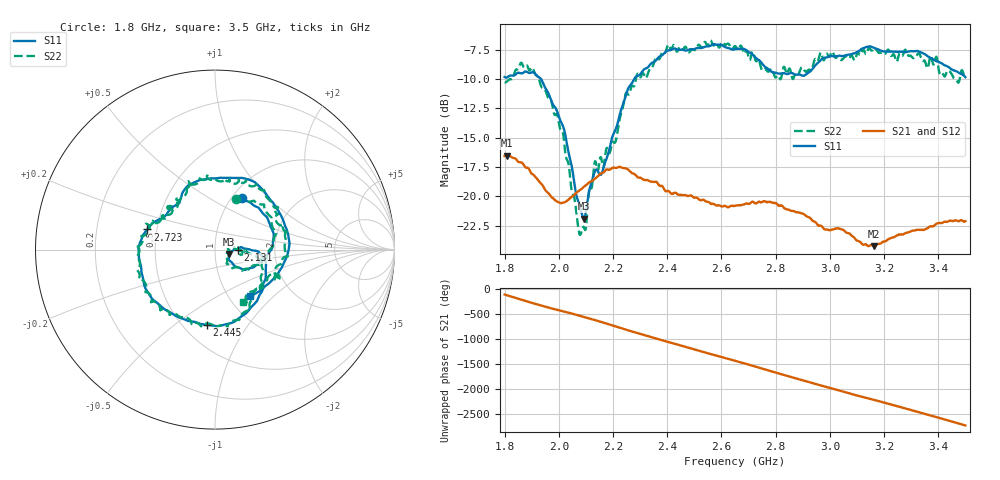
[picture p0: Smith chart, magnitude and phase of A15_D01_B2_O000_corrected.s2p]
! Created with skrf 1.9.0 (http://scikit-rf.org).
# Hz S RI R 50.0
!freq ReS11 ImS11 ReS21 ImS21 ReS12 ImS12 ReS22 ImS22
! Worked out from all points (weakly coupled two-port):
!   1601 points, 1.8 GHz to 3.5 GHz, reference 50 ohm
!   highest |S21| = -16.54 dB at 1.808 GHz (marker M1); lowest = -24.3 dB at 3.163 GHz (marker M2)
!   lowest |S11| = -21.9 dB at 2.092 GHz (marker M3), VSWR 1.17, Z = 58.2 - j2.84 ohm
!   |S11| at or under -10 dB: 1.934 GHz to 2.278 GHz (343.8 MHz wide, 16.3 % of centre)
!   |S22| runs from -23.3 to -6.7 dB; largest |S21 - S12| = 0.0029
!   S11 on the Smith chart (normalised r, x): 1.8 GHz: 1.11, +0.71; 2.131 GHz: 1.29, -0.01; 2.445 GHz: 0.65, -0.66; 2.723 GHz: 0.44, +0.12; 3.5 GHz: 1.25, -0.72
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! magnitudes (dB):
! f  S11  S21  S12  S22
! 1.8 GHz  -9.8  -16.6  -16.6  -10.3
! 1.808 GHz  -9.9  -16.5  -16.6  -10.2
! 1.865 GHz  -9.5  -17.2  -17.2  -8.7
! 1.913 GHz  -9.5  -18.3  -18.3  -9.6
! 1.968 GHz  -11.6  -19.9  -20.0  -11.7
! 2.019 GHz  -14.2  -20.5  -20.6  -15.2
! 2.072 GHz  -20.5  -19.6  -19.6  -22.8
! 2.084 GHz  -21.4  -19.4  -19.3  -23.0
! 2.092 GHz  -21.9  -19.2  -19.3  -22.7
! 2.131 GHz  -18.0  -18.5  -18.5  -17.2
! 2.16 GHz  -17.9  -18.0  -18.0  -17.2
! 2.208 GHz  -14.4  -17.6  -17.6  -15.4
! 2.259 GHz  -10.7  -17.8  -17.8  -11.3
! 2.367 GHz  -8.2  -19.0  -18.9  -8.3
! 2.445 GHz  -7.5  -19.9  -19.9  -7.2
! 2.65 GHz  -7.5  -20.8  -20.8  -7.2
! 2.723 GHz  -8.1  -20.6  -20.5  -8.2
! 2.812 GHz  -9.5  -20.8  -20.7  -9.8
! 2.934 GHz  -9.2  -22.0  -22.0  -9.2
! 3.163 GHz  -7.3  -24.3  -24.2  -7.3
! 3.217 GHz  -7.7  -23.6  -23.6  -7.5
! 3.5 GHz  -9.8  -22.1  -22.1  -9.5
